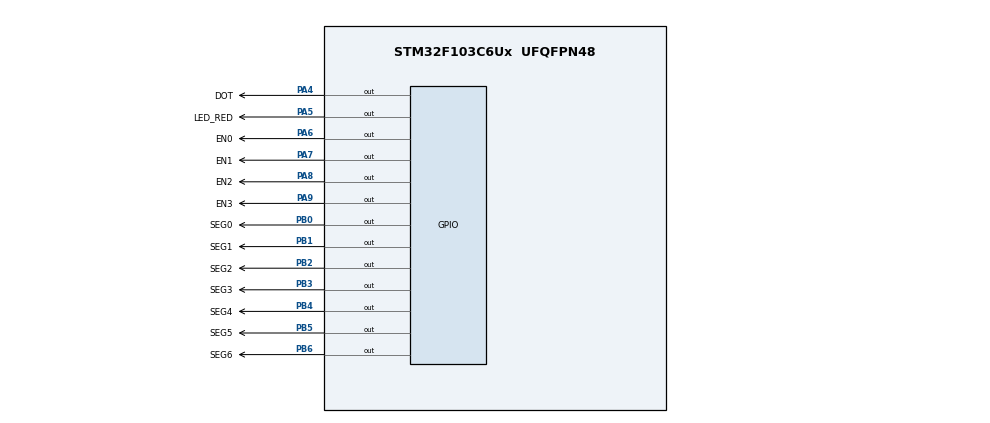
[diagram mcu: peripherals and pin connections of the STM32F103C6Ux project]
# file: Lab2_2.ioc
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Mcu.Family=STM32F1
Mcu.Name=STM32F103C6Ux
Mcu.Package=UFQFPN48
NVIC.PriorityGroup=NVIC_PRIORITYGROUP_4
NVIC.TIM2_IRQn=true\:0\:0\:false\:false\:true\:true\:true
PA4.GPIO_Label=DOT
PA4.Signal=GPIO_Output
PA5.GPIO_Label=LED_RED
PA5.Signal=GPIO_Output
PA6.GPIO_Label=EN0
PA6.Signal=GPIO_Output
PA7.GPIO_Label=EN1
PA7.Signal=GPIO_Output
PA8.GPIO_Label=EN2
PA8.Signal=GPIO_Output
PA9.GPIO_Label=EN3
PA9.Signal=GPIO_Output
PB0.GPIO_Label=SEG0
PB0.Signal=GPIO_Output
PB1.GPIO_Label=SEG1
PB1.Signal=GPIO_Output
PB2.GPIO_Label=SEG2
PB2.Signal=GPIO_Output
PB3.GPIO_Label=SEG3
PB3.Signal=GPIO_Output
PB4.GPIO_Label=SEG4
PB4.Signal=GPIO_Output
PB5.GPIO_Label=SEG5
PB5.Signal=GPIO_Output
PB6.GPIO_Label=SEG6
PB6.Signal=GPIO_Output
ProjectManager.HeapSize=0x200
ProjectManager.StackSize=0x400
ProjectManager.TargetToolchain=STM32CubeIDE
RCC.APB1Freq_Value=8000000
RCC.APB2Freq_Value=8000000
TIM2.Period=9
TIM2.Prescaler=7999
VP_SYS_VS_ND.Mode=No_Debug
VP_TIM2_VS_ClockSourceINT.Mode=Internal
board=custom

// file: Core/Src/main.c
/* USER CODE BEGIN Header */
/**
  ******************************************************************************
  * @file           : main.c
  * @brief          : Main program body
  ******************************************************************************
  * @attention
  *
  * <h2><center>&copy; Copyright (c) 2024 STMicroelectronics.
  * All rights reserved.</center></h2>
  *
  * This software component is licensed by ST under BSD 3-Clause license,
  * the "License"; You may not use this file except in compliance with the
  * License. You may obtain a copy of the License at:
  *                        opensource.org/licenses/BSD-3-Clause
  *
  ******************************************************************************
  */
/* USER CODE END Header */
#include "main.h"

/* USER CODE BEGIN Includes */
#include "software_timer.h"
/* USER CODE END Includes */

/* USER CODE BEGIN PD */
#define setCounterDot 100
#define setCounterLed 50
#define setCounter7SEG 50
/* USER CODE END PD */

TIM_HandleTypeDef htim2;

void SystemClock_Config(void);
static void MX_GPIO_Init(void);
static void MX_TIM2_Init(void);

/* USER CODE BEGIN 0 */
//void display7SEG(int num)
//{
//	if(num == 0)
//	{
//		HAL_GPIO_WritePin(SEG0_GPIO_Port, SEG0_Pin, RESET);
//		HAL_GPIO_WritePin(SEG1_GPIO_Port, SEG1_Pin, RESET);
//		HAL_GPIO_WritePin(SEG2_GPIO_Port, SEG2_Pin, RESET);
//		HAL_GPIO_WritePin(SEG3_GPIO_Port, SEG3_Pin, RESET);
//		HAL_GPIO_WritePin(SEG4_GPIO_Port, SEG4_Pin, RESET);
//		HAL_GPIO_WritePin(SEG5_GPIO_Port, SEG5_Pin, RESET);
//		HAL_GPIO_WritePin(SEG6_GPIO_Port, SEG6_Pin, SET);
//	}
//	else if(num == 1)
//	{
//		HAL_GPIO_WritePin(SEG0_GPIO_Port, SEG0_Pin, SET);
//		HAL_GPIO_WritePin(SEG1_GPIO_Port, SEG1_Pin, RESET);
//		HAL_GPIO_WritePin(SEG2_GPIO_Port, SEG2_Pin, RESET);
//		HAL_GPIO_WritePin(SEG3_GPIO_Port, SEG3_Pin, SET);
//		HAL_GPIO_WritePin(SEG4_GPIO_Port, SEG4_Pin, SET);
//		HAL_GPIO_WritePin(SEG5_GPIO_Port, SEG5_Pin, SET);
//		HAL_GPIO_WritePin(SEG6_GPIO_Port, SEG6_Pin, SET);
//	}
//	else if(num == 2)
//	{
//		HAL_GPIO_WritePin(SEG0_GPIO_Port, SEG0_Pin, RESET);
//		HAL_GPIO_WritePin(SEG1_GPIO_Port, SEG1_Pin, RESET);
//		HAL_GPIO_WritePin(SEG2_GPIO_Port, SEG2_Pin, SET);
//		HAL_GPIO_WritePin(SEG3_GPIO_Port, SEG3_Pin, RESET);
//		HAL_GPIO_WritePin(SEG4_GPIO_Port, SEG4_Pin, RESET);
//		HAL_GPIO_WritePin(SEG5_GPIO_Port, SEG5_Pin, SET);
//		HAL_GPIO_WritePin(SEG6_GPIO_Port, SEG6_Pin, RESET);
//	}
//	else if(num == 3)
//	{
//		HAL_GPIO_WritePin(SEG0_GPIO_Port, SEG0_Pin, RESET);
//		HAL_GPIO_WritePin(SEG1_GPIO_Port, SEG1_Pin, RESET);
//		HAL_GPIO_WritePin(SEG2_GPIO_Port, SEG2_Pin, RESET);
//		HAL_GPIO_WritePin(SEG3_GPIO_Port, SEG3_Pin, RESET);
//		HAL_GPIO_WritePin(SEG4_GPIO_Port, SEG4_Pin, SET);
//		HAL_GPIO_WritePin(SEG5_GPIO_Port, SEG5_Pin, SET);
//		HAL_GPIO_WritePin(SEG6_GPIO_Port, SEG6_Pin, RESET);
//	}
//	else if(num == 4)
//	{
//		HAL_GPIO_WritePin(SEG0_GPIO_Port, SEG0_Pin, SET);
//		HAL_GPIO_WritePin(SEG1_GPIO_Port, SEG1_Pin, RESET);
//		HAL_GPIO_WritePin(SEG2_GPIO_Port, SEG2_Pin, RESET);
//		HAL_GPIO_WritePin(SEG3_GPIO_Port, SEG3_Pin, SET);
//		HAL_GPIO_WritePin(SEG4_GPIO_Port, SEG4_Pin, SET);
//		HAL_GPIO_WritePin(SEG5_GPIO_Port, SEG5_Pin, RESET);
//		HAL_GPIO_WritePin(SEG6_GPIO_Port, SEG6_Pin, RESET);
//	}
//	else if(num == 5)
//	{
//		HAL_GPIO_WritePin(SEG0_GPIO_Port, SEG0_Pin, RESET);
//		HAL_GPIO_WritePin(SEG1_GPIO_Port, SEG1_Pin, SET);
//		HAL_GPIO_WritePin(SEG2_GPIO_Port, SEG2_Pin, RESET);
//		HAL_GPIO_WritePin(SEG3_GPIO_Port, SEG3_Pin, RESET);
//		HAL_GPIO_WritePin(SEG4_GPIO_Port, SEG4_Pin, SET);
//		HAL_GPIO_WritePin(SEG5_GPIO_Port, SEG5_Pin, RESET);
//		HAL_GPIO_WritePin(SEG6_GPIO_Port, SEG6_Pin, RESET);
//	}
//	else if(num == 6)
//	{
//		HAL_GPIO_WritePin(SEG0_GPIO_Port, SEG0_Pin, RESET);
//		HAL_GPIO_WritePin(SEG1_GPIO_Port, SEG1_Pin, SET);
//		HAL_GPIO_WritePin(SEG2_GPIO_Port, SEG2_Pin, RESET);
//		HAL_GPIO_WritePin(SEG3_GPIO_Port, SEG3_Pin, RESET);
//		HAL_GPIO_WritePin(SEG4_GPIO_Port, SEG4_Pin, RESET);
//		HAL_GPIO_WritePin(SEG5_GPIO_Port, SEG5_Pin, RESET);
//		HAL_GPIO_WritePin(SEG6_GPIO_Port, SEG6_Pin, RESET);
//	}
//	else if(num == 7)
//	{
//		HAL_GPIO_WritePin(SEG0_GPIO_Port, SEG0_Pin, RESET);
//		HAL_GPIO_WritePin(SEG1_GPIO_Port, SEG1_Pin, RESET);
//		HAL_GPIO_WritePin(SEG2_GPIO_Port, SEG2_Pin, RESET);
//		HAL_GPIO_WritePin(SEG3_GPIO_Port, SEG3_Pin, SET);
//		HAL_GPIO_WritePin(SEG4_GPIO_Port, SEG4_Pin, SET);
//		HAL_GPIO_WritePin(SEG5_GPIO_Port, SEG5_Pin, SET);
//		HAL_GPIO_WritePin(SEG6_GPIO_Port, SEG6_Pin, SET);
//	}
//	else if(num == 8)
//	{
//		HAL_GPIO_WritePin(SEG0_GPIO_Port, SEG0_Pin, RESET);
//		HAL_GPIO_WritePin(SEG1_GPIO_Port, SEG1_Pin, RESET);
//		HAL_GPIO_WritePin(SEG2_GPIO_Port, SEG2_Pin, RESET);
//		HAL_GPIO_WritePin(SEG3_GPIO_Port, SEG3_Pin, RESET);
//		HAL_GPIO_WritePin(SEG4_GPIO_Port, SEG4_Pin, RESET);
//		HAL_GPIO_WritePin(SEG5_GPIO_Port, SEG5_Pin, RESET);
//		HAL_GPIO_WritePin(SEG6_GPIO_Port, SEG6_Pin, RESET);
//	}
//	else if(num == 9)
//	{
//		HAL_GPIO_WritePin(SEG0_GPIO_Port, SEG0_Pin, RESET);
//		HAL_GPIO_WritePin(SEG1_GPIO_Port, SEG1_Pin, RESET);
//		HAL_GPIO_WritePin(SEG2_GPIO_Port, SEG2_Pin, RESET);
//		HAL_GPIO_WritePin(SEG3_GPIO_Port, SEG3_Pin, RESET);
//		HAL_GPIO_WritePin(SEG4_GPIO_Port, SEG4_Pin, SET);
//		HAL_GPIO_WritePin(SEG5_GPIO_Port, SEG5_Pin, RESET);
//		HAL_GPIO_WritePin(SEG6_GPIO_Port, SEG6_Pin, RESET);
//	}
//}
/* USER CODE END 0 */

int main(void)
{

  /* MCU Configuration--------------------------------------------------------*/

  /* Reset of all peripherals, Initializes the Flash interface and the Systick. */
  HAL_Init();

  /* Configure the system clock */
  SystemClock_Config();

  /* Initialize all configured peripherals */
  MX_GPIO_Init();
  MX_TIM2_Init();
  /* USER CODE BEGIN 2 */
  HAL_TIM_Base_Start_IT(&htim2);
  /* USER CODE END 2 */

  /* Infinite loop */
  while (1)
  {

  }
}

void SystemClock_Config(void)
{
  RCC_OscInitTypeDef RCC_OscInitStruct = {0};
  RCC_ClkInitTypeDef RCC_ClkInitStruct = {0};

  /** Initializes the RCC Oscillators according to the specified parameters
  * in the RCC_OscInitTypeDef structure.
  */
  RCC_OscInitStruct.OscillatorType = RCC_OSCILLATORTYPE_HSI;
  RCC_OscInitStruct.HSIState = RCC_HSI_ON;
  RCC_OscInitStruct.HSICalibrationValue = RCC_HSICALIBRATION_DEFAULT;
  RCC_OscInitStruct.PLL.PLLState = RCC_PLL_NONE;
  if (HAL_RCC_OscConfig(&RCC_OscInitStruct) != HAL_OK)
  {
    Error_Handler();
  }
  /** Initializes the CPU, AHB and APB buses clocks
  */
  RCC_ClkInitStruct.ClockType = RCC_CLOCKTYPE_HCLK|RCC_CLOCKTYPE_SYSCLK
                              |RCC_CLOCKTYPE_PCLK1|RCC_CLOCKTYPE_PCLK2;
  RCC_ClkInitStruct.SYSCLKSource = RCC_SYSCLKSOURCE_HSI;
  RCC_ClkInitStruct.AHBCLKDivider = RCC_SYSCLK_DIV1;
  RCC_ClkInitStruct.APB1CLKDivider = RCC_HCLK_DIV1;
  RCC_ClkInitStruct.APB2CLKDivider = RCC_HCLK_DIV1;

  if (HAL_RCC_ClockConfig(&RCC_ClkInitStruct, FLASH_LATENCY_0) != HAL_OK)
  {
    Error_Handler();
  }
}

static void MX_TIM2_Init(void)
{

  TIM_ClockConfigTypeDef sClockSourceConfig = {0};
  TIM_MasterConfigTypeDef sMasterConfig = {0};

  htim2.Instance = TIM2;
  htim2.Init.Prescaler = 7999;
  htim2.Init.CounterMode = TIM_COUNTERMODE_UP;
  htim2.Init.Period = 9;
  htim2.Init.ClockDivision = TIM_CLOCKDIVISION_DIV1;
  htim2.Init.AutoReloadPreload = TIM_AUTORELOAD_PRELOAD_DISABLE;
  if (HAL_TIM_Base_Init(&htim2) != HAL_OK)
  {
    Error_Handler();
  }
  sClockSourceConfig.ClockSource = TIM_CLOCKSOURCE_INTERNAL;
  if (HAL_TIM_ConfigClockSource(&htim2, &sClockSourceConfig) != HAL_OK)
  {
    Error_Handler();
  }
  sMasterConfig.MasterOutputTrigger = TIM_TRGO_RESET;
  sMasterConfig.MasterSlaveMode = TIM_MASTERSLAVEMODE_DISABLE;
  if (HAL_TIMEx_MasterConfigSynchronization(&htim2, &sMasterConfig) != HAL_OK)
  {
    Error_Handler();
  }

}

static void MX_GPIO_Init(void)
{
  GPIO_InitTypeDef GPIO_InitStruct = {0};

  /* GPIO Ports Clock Enable */
  __HAL_RCC_GPIOA_CLK_ENABLE();
  __HAL_RCC_GPIOB_CLK_ENABLE();

  /*Configure GPIO pin Output Level */
  HAL_GPIO_WritePin(GPIOA, DOT_Pin|LED_RED_Pin|EN0_Pin|EN1_Pin
                          |EN2_Pin|EN3_Pin, GPIO_PIN_RESET);

  /*Configure GPIO pin Output Level */
  HAL_GPIO_WritePin(GPIOB, SEG0_Pin|SEG1_Pin|SEG2_Pin|SEG3_Pin
                          |SEG4_Pin|SEG5_Pin|SEG6_Pin, GPIO_PIN_RESET);

  /*Configure GPIO pins : DOT_Pin LED_RED_Pin EN0_Pin EN1_Pin
                           EN2_Pin EN3_Pin */
  GPIO_InitStruct.Pin = DOT_Pin|LED_RED_Pin|EN0_Pin|EN1_Pin
                          |EN2_Pin|EN3_Pin;
  GPIO_InitStruct.Mode = GPIO_MODE_OUTPUT_PP;
  GPIO_InitStruct.Pull = GPIO_NOPULL;
  GPIO_InitStruct.Speed = GPIO_SPEED_FREQ_LOW;
  HAL_GPIO_Init(GPIOA, &GPIO_InitStruct);

  /*Configure GPIO pins : SEG0_Pin SEG1_Pin SEG2_Pin SEG3_Pin
                           SEG4_Pin SEG5_Pin SEG6_Pin */
  GPIO_InitStruct.Pin = SEG0_Pin|SEG1_Pin|SEG2_Pin|SEG3_Pin
                          |SEG4_Pin|SEG5_Pin|SEG6_Pin;
  GPIO_InitStruct.Mode = GPIO_MODE_OUTPUT_PP;
  GPIO_InitStruct.Pull = GPIO_NOPULL;
  GPIO_InitStruct.Speed = GPIO_SPEED_FREQ_LOW;
  HAL_GPIO_Init(GPIOB, &GPIO_InitStruct);

}

/* USER CODE BEGIN 4 */
enum ledState {led1 = 1, led2 = 2, led3 = 3, led4 = 0};
enum ledState status = led1;

static uint8_t sevenSegTable[10] = {
	  0x40 //0
    , 0x79 //1
	, 0x24 //2
	, 0x30 //3
	, 0x19 //4
	, 0x12 //5
	, 0x02 //6
	, 0x78 //7
	, 0x00 //8
	, 0x10 //9
};

void display7SEG (int num)
{
	switch(num)
	{
	case led1:
		HAL_GPIO_WritePin(EN0_GPIO_Port, EN0_Pin, RESET);
		HAL_GPIO_WritePin(EN1_GPIO_Port, EN1_Pin, SET);
		HAL_GPIO_WritePin(EN2_GPIO_Port, EN2_Pin, SET);
		HAL_GPIO_WritePin(EN3_GPIO_Port, EN3_Pin, SET);
		status = led2;
		break;
	case led2:
		HAL_GPIO_WritePin(EN0_GPIO_Port, EN0_Pin, SET);
		HAL_GPIO_WritePin(EN1_GPIO_Port, EN1_Pin, RESET);
		HAL_GPIO_WritePin(EN2_GPIO_Port, EN2_Pin, SET);
		HAL_GPIO_WritePin(EN3_GPIO_Port, EN3_Pin, SET);
		status = led3;
		break;
	case led3:
		HAL_GPIO_WritePin(EN0_GPIO_Port, EN0_Pin, SET);
		HAL_GPIO_WritePin(EN1_GPIO_Port, EN1_Pin, SET);
		HAL_GPIO_WritePin(EN2_GPIO_Port, EN2_Pin, RESET);
		HAL_GPIO_WritePin(EN3_GPIO_Port, EN3_Pin, SET);
		status = led4;
		break;
	case led4:
		HAL_GPIO_WritePin(EN0_GPIO_Port, EN0_Pin, SET);
		HAL_GPIO_WritePin(EN1_GPIO_Port, EN1_Pin, SET);
		HAL_GPIO_WritePin(EN2_GPIO_Port, EN2_Pin, SET);
		HAL_GPIO_WritePin(EN3_GPIO_Port, EN3_Pin, RESET);
		status = led1;
		break;
	default:
		break;
	}
	GPIOB->ODR = sevenSegTable[num];
}

static uint16_t counterLed = setCounterLed;
static uint16_t counter7SEG = setCounter7SEG;
static uint16_t counterDot = setCounterDot;
int eventCounter = 0;

void systemRun(void)
{
	counterLed--;
	counter7SEG--;
	counterDot--;

	if(counterLed <= 0)
	{
		counterLed = setCounterLed;
		HAL_GPIO_TogglePin(LED_RED_GPIO_Port, LED_RED_Pin);
	}

	if(counter7SEG <= 0)
	{
		counter7SEG = setCounter7SEG;
		display7SEG(status);
	}

	if(counterDot <= 0)
	{
		counterDot = setCounterDot;
//		eventCounter++;
//		if(eventCounter % 2 == 0)
//		{
//			HAL_GPIO_TogglePin(DOT_GPIO_Port, DOT_Pin);
//			eventCounter = 0;
//		}

		HAL_GPIO_TogglePin(DOT_GPIO_Port, DOT_Pin);
	}
}

void HAL_TIM_PeriodElapsedCallback(TIM_HandleTypeDef *htim)
{
	// timerRun();
	systemRun();
}
/* USER CODE END 4 */

void Error_Handler(void)
{
  __disable_irq();
  while (1)
  {
  }
}

/************************ (C) COPYRIGHT STMicroelectronics *****END OF FILE****/
